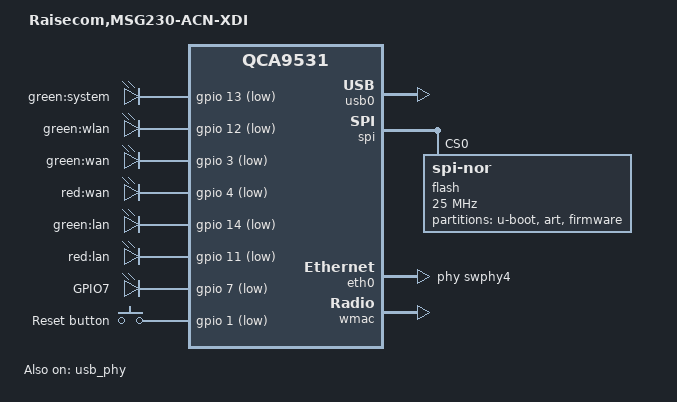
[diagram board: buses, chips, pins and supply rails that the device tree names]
// SPDX-License-Identifier: GPL-2.0-or-later OR MIT

#include "qca953x.dtsi"

#include <dt-bindings/gpio/gpio.h>
#include <dt-bindings/input/input.h>

/ {
	compatible = "Raisecom,MSG230-ACN-XDI", "qca,qca9531";
	model = " Raisecom,MSG230-ACN-XDI ";

	aliases {
		led-boot = &led_system;
		led-failsafe = &led_system;
		led-running = &led_system;
		led-upgrade = &led_system;
	};

	leds {
		compatible = "gpio-leds";

		led_system:system {
			label = "green:system";
			gpios = <&gpio 13 GPIO_ACTIVE_LOW>;
			linux,default-trigger = "phy0tpt";
		};

		wifi {
			label = "green:wlan";
			gpios = <&gpio 12 GPIO_ACTIVE_LOW>;
			linux,default-trigger = "phy0tpt";
		};

		wan_green {
			label = "green:wan";
			gpios = <&gpio 3 GPIO_ACTIVE_LOW>;
		};

		wan_red {
			label = "red:wan";
			gpios = <&gpio 4 GPIO_ACTIVE_LOW>;
		};

		lan_green {
			label = "green:lan";
			gpios = <&gpio 14 GPIO_ACTIVE_LOW>;
		};

		lan_red {
			label = "red:lan";
			gpios = <&gpio 11 GPIO_ACTIVE_LOW>;
		};

		GPIO7 {
			label = "GPIO7";
			gpios = <&gpio 7 GPIO_ACTIVE_LOW>;
		};
	};

	keys {
		compatible = "gpio-keys";

		reset {
			label = "Reset button";
			linux,code = <KEY_RESTART>;
			gpios = <&gpio 1 GPIO_ACTIVE_LOW>;
			debounce-interval = <60>;
		};
	};
};

&usb0 {
	#address-cells = <1>;
	#size-cells = <0>;
	status = "okay";

	hub_port: port@1 {
		reg = <1>;
		#trigger-source-cells = <0>;
	};
};

&usb_phy {
	status = "okay";
};

&spi {
	status = "okay";

	flash@0 {
		compatible = "jedec,spi-nor";
		reg = <0>;
		spi-max-frequency = <25000000>;

		partitions {
			compatible = "fixed-partitions";
			#address-cells = <1>;
			#size-cells = <1>;

			partition@0 {
				label = "u-boot";
				reg = <0x000000 0x040000>;
			};

			art: partition@40000 {
				label = "art";
				reg = <0x040000 0x010000>;
			};

			partition@50000 {
				compatible = "denx,uimage";
				label = "firmware";
				reg = <0x050000 0xfb0000>;
			};
		};
	};
};

&eth0 {
	status = "okay";

	phy-handle = <&swphy4>;

	nvmem-cells = <&macaddr_art_0>;
	nvmem-cell-names = "mac-address";
	mac-address-increment = <1>;
};

&eth1 {
	nvmem-cells = <&macaddr_art_6 >;
	nvmem-cell-names = "mac-address";
};

&wmac {
	status = "okay";

	mtd-cal-data = <&art 0x1000>;
	nvmem-cells = <&macaddr_art_0>;
	nvmem-cell-names = "mac-address";
};

&art {
	compatible = "nvmem-cells";
	#address-cells = <1>;
	#size-cells = <1>;

	macaddr_art_0: macaddr@0 {
		reg = <0x0 0x6>;
	};

	macaddr_art_6: macaddr@6 {
		reg = <0x6 0x6>;
	};
};
